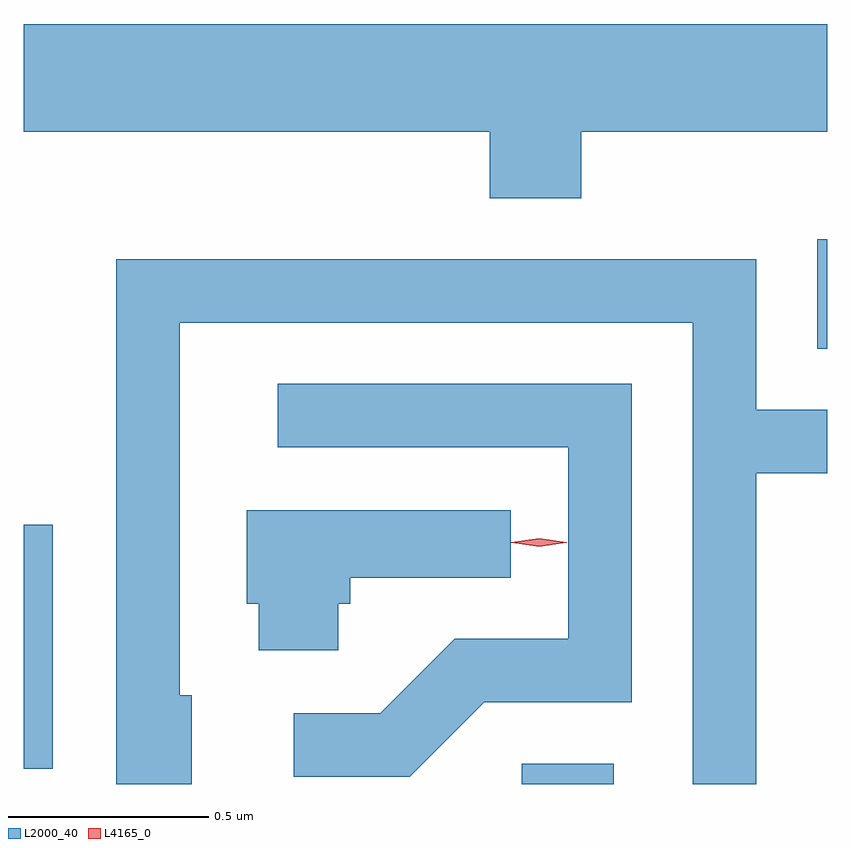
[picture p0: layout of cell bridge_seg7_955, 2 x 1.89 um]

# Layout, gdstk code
import gdstk
lib = gdstk.Library(unit=1e-6, precision=1e-09)
def R(c, l, rs):  # rectangles x0, y0, x1, y1
    for r in rs: c.add(gdstk.rectangle(r[:2], r[2:], *l))
def P(c, l, *ps):  # polygons
    for p in ps: c.add(gdstk.Polygon(p, *l))
L2000_40 = (2000, 40)
L4165_0 = (4165, 0)

bridge_seg7_955 = lib.new_cell('bridge_seg7_955')
R(bridge_seg7_955, L2000_40, [(557.831,1694.933,558.059,1694.984), (556.591,1694.971,556.664,1695.578), (558.566,1696.016,558.591,1696.288)])
P(bridge_seg7_955, L2000_40, [(557.979,1696.556),(558.591,1696.556),(558.591,1696.824),(556.591,1696.824),(556.591,1696.556),(557.751,1696.556),(557.751,1696.391),(557.979,1696.391)],
  [(557.009,1695.154),(556.979,1695.154),(556.979,1696.081),(558.256,1696.081),(558.256,1694.933),(558.414,1694.933),(558.414,1695.706),(558.591,1695.706),(558.591,1695.864),(558.414,1695.864),(558.414,1696.239),(556.821,1696.239),(556.821,1694.933),(557.009,1694.933)],
  [(557.737,1695.136),(558.104,1695.136),(558.104,1695.929),(557.223,1695.929),(557.223,1695.771),(557.946,1695.771),(557.946,1695.294),(557.664,1695.294),(557.479,1695.109),(557.263,1695.109),(557.263,1694.951),(557.552,1694.951)],
  [(557.374,1695.381),(557.404,1695.381),(557.404,1695.446),(557.803,1695.446),(557.803,1695.614),(557.146,1695.614),(557.146,1695.381),(557.176,1695.381),(557.176,1695.266),(557.374,1695.266)])
P(bridge_seg7_955, L4165_0, [(557.874,1695.523),(557.807,1695.533),(557.807,1695.533),(557.807,1695.534),(557.874,1695.543),(557.94,1695.534),(557.941,1695.533),(557.94,1695.533)],
  [(557.874,1695.524),(557.804,1695.533),(557.804,1695.534),(557.804,1695.534),(557.874,1695.544),(557.943,1695.534),(557.943,1695.534),(557.943,1695.533)])

lib.write_gds('bridge_seg7_955.gds')
